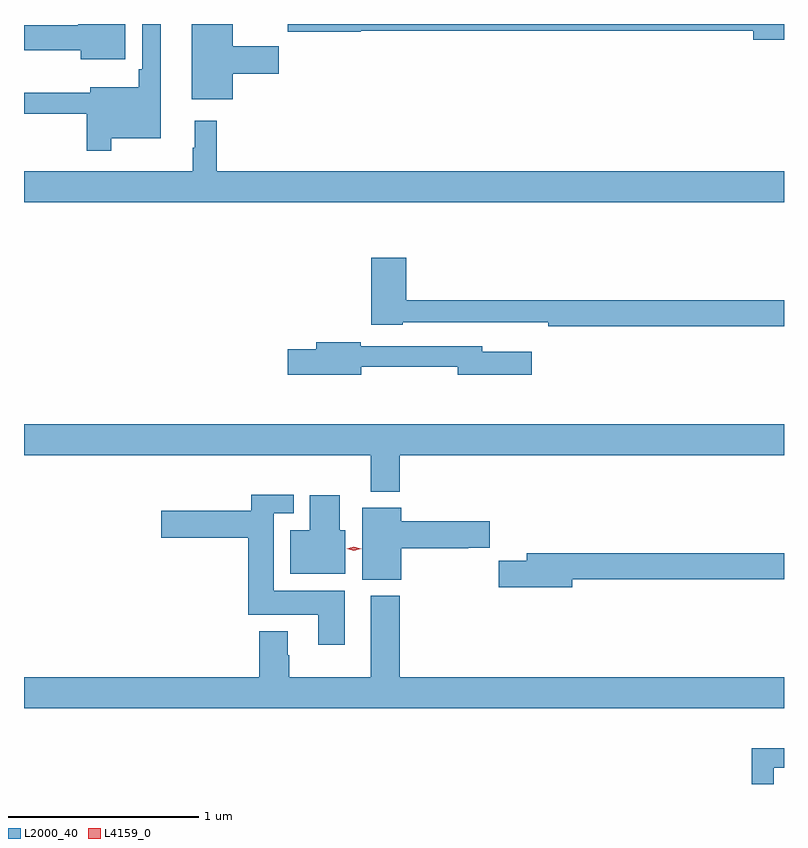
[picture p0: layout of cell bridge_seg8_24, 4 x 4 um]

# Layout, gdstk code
import gdstk
lib = gdstk.Library(unit=1e-6, precision=1e-09)
def P(c, l, *ps):  # polygons
    for p in ps: c.add(gdstk.Polygon(p, *l))
L2000_40 = (2000, 40)
L4159_0 = (4159, 0)

bridge_seg8_24 = lib.new_cell('bridge_seg8_24')
P(bridge_seg8_24, L2000_40, [(961.36,1157.135),(961.603,1157.135),(961.603,1157.282),(961.36,1157.282),(961.36,1157.398),(961.145,1157.398),(961.145,1157.003),(961.36,1157.003)],
  [(960.796,1157.398),(960.548,1157.398),(960.548,1157.391),(960.262,1157.391),(960.262,1157.261),(960.56,1157.261),(960.56,1157.213),(960.796,1157.213)],
  [(964.262,1157.398),(961.65,1157.398),(961.65,1157.357),(962.034,1157.357),(962.034,1157.362),(964.1,1157.362),(964.1,1157.315),(964.262,1157.315)],
  [(960.721,1156.796),(960.982,1156.796),(960.982,1157.398),(960.885,1157.398),(960.885,1157.161),(960.865,1157.161),(960.865,1157.065),(960.611,1157.065),(960.611,1157.037),(960.262,1157.037),(960.262,1156.926),(960.592,1156.926),(960.592,1156.731),(960.721,1156.731)],
  [(964.262,1156.624),(961.277,1156.624),(961.277,1156.888),(961.16,1156.888),(961.16,1156.748),(961.149,1156.748),(961.149,1156.624),(960.262,1156.624),(960.262,1156.46),(964.262,1156.46)],
  [(964.262,1155.944),(962.273,1155.944),(962.273,1156.168),(962.09,1156.168),(962.09,1155.815),(962.256,1155.815),(962.256,1155.828),(962.77,1155.828),(962.77,1155.827),(963.022,1155.827),(963.022,1155.808),(964.262,1155.808)],
  [(962.038,1155.594),(962.546,1155.594),(962.546,1155.551),(962.935,1155.551),(962.935,1155.673),(962.674,1155.673),(962.674,1155.702),(962.034,1155.702),(962.034,1155.722),(961.799,1155.722),(961.799,1155.686),(961.65,1155.686),(961.65,1155.551),(962.038,1155.551)],
  [(962.24,1155.128),(964.262,1155.128),(964.262,1155.292),(960.262,1155.292),(960.262,1155.128),(962.087,1155.128),(962.087,1154.936),(962.24,1154.936)],
  [(961.951,1154.416),(961.576,1154.416),(961.576,1154.823),(961.681,1154.823),(961.681,1154.921),(961.459,1154.921),(961.459,1154.835),(960.984,1154.835),(960.984,1154.693),(961.442,1154.693),(961.442,1154.288),(961.811,1154.288),(961.811,1154.13),(961.951,1154.13)],
  [(961.954,1154.734),(961.924,1154.734),(961.924,1154.917),(961.766,1154.917),(961.766,1154.734),(961.664,1154.734),(961.664,1154.504),(961.954,1154.504)],
  [(962.248,1154.639),(962.6,1154.639),(962.6,1154.642),(962.713,1154.642),(962.713,1154.781),(962.248,1154.781),(962.248,1154.851),(962.042,1154.851),(962.042,1154.474),(962.248,1154.474)],
  [(963.148,1154.476),(964.262,1154.476),(964.262,1154.612),(962.909,1154.612),(962.909,1154.572),(962.76,1154.572),(962.76,1154.434),(963.148,1154.434)],
  [(964.262,1153.96),(962.24,1153.96),(962.24,1154.389),(962.087,1154.389),(962.087,1153.96),(961.659,1153.96),(961.659,1154.076),(961.651,1154.076),(961.651,1154.203),(961.499,1154.203),(961.499,1153.96),(960.262,1153.96),(960.262,1153.796),(964.262,1153.796)],
  [(964.209,1153.484),(964.262,1153.484),(964.262,1153.585),(964.093,1153.585),(964.093,1153.398),(964.209,1153.398)])
P(bridge_seg8_24, L4159_0, [(961.998,1154.626),(961.96,1154.635),(961.96,1154.635),(961.96,1154.635),(961.998,1154.646),(962.036,1154.637),(962.036,1154.637),(962.036,1154.636)])

lib.write_gds('bridge_seg8_24.gds')
